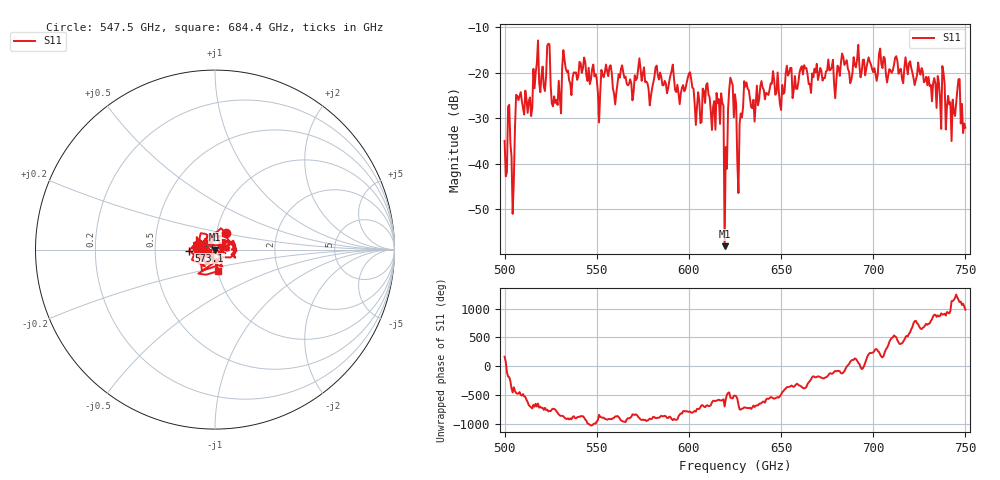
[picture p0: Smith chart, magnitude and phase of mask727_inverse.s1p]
!Created with skrf (http://scikit-rf.org).
# GHz S MA R 50.0
!freq magS11 angS11
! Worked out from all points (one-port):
!   401 points, 500 GHz to 750 GHz, reference 50 ohm
!   lowest |S11| = -58.2 dB at 619.4 GHz (marker M1), VSWR 1.00, Z = 50.1 + j0.0466 ohm
!   |S11| at or under -10 dB: start of sweep to end of sweep
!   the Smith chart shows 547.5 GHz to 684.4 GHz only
!   S11 on the Smith chart (normalised r, x): 547.5 GHz: 1.11, +0.21; 573.1 GHz: 0.75, -0.01; 684.4 GHz: 1.00, -0.25
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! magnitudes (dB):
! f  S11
! 500 GHz  -35.0
! 502.5 GHz  -27.1
! 504.4 GHz  -51.1
! 507.5 GHz  -26.0
! 513.8 GHz  -25.4
! 516.9 GHz  -20.0
! 523.8 GHz  -13.6
! 526.9 GHz  -25.2
! 531.2 GHz  -18.7
! 547.5 GHz  -19.1
! 562.5 GHz  -21.0
! 573.1 GHz  -16.8
! 593.8 GHz  -22.6
! 617.5 GHz  -24.5
! 619.4 GHz  -58.2
! 620.6 GHz  -41.1
! 622.5 GHz  -21.1
! 625 GHz  -24.7
! 627.5 GHz  -31.1
! 631.2 GHz  -22.1
! 635 GHz  -25.9
! 656.2 GHz  -25.6
! 684.4 GHz  -18.3
! 687.5 GHz  -22.3
! 718.8 GHz  -20.3
! 743.1 GHz  -25.9
! 746.9 GHz  -21.4
! 750 GHz  -32.1
